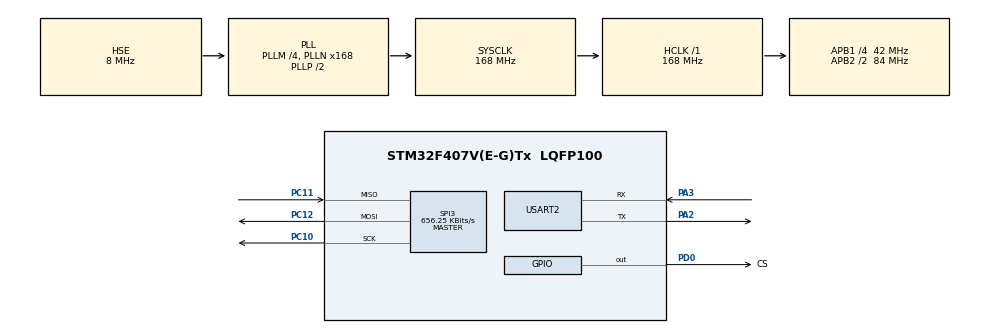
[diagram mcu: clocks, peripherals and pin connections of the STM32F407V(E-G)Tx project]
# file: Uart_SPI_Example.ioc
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Mcu.Family=STM32F4
Mcu.Name=STM32F407V(E-G)Tx
Mcu.Package=LQFP100
NVIC.PriorityGroup=NVIC_PRIORITYGROUP_4
NVIC.USART2_IRQn=true\:0\:0\:false\:false\:true\:true\:true
PA13.Mode=Serial_Wire
PA13.Signal=SYS_JTMS-SWDIO
PA14.Mode=Serial_Wire
PA14.Signal=SYS_JTCK-SWCLK
PA2.Mode=Asynchronous
PA2.Signal=USART2_TX
PA3.Mode=Asynchronous
PA3.Signal=USART2_RX
PC10.Mode=Full_Duplex_Master
PC10.Signal=SPI3_SCK
PC11.Mode=Full_Duplex_Master
PC11.Signal=SPI3_MISO
PC12.Mode=Full_Duplex_Master
PC12.Signal=SPI3_MOSI
PD0.GPIO_Label=CS
PD0.Signal=GPIO_Output
PH0-OSC_IN.Mode=HSE-External-Oscillator
PH0-OSC_IN.Signal=RCC_OSC_IN
PH1-OSC_OUT.Mode=HSE-External-Oscillator
PH1-OSC_OUT.Signal=RCC_OSC_OUT
ProjectManager.HeapSize=0x200
ProjectManager.StackSize=0x400
ProjectManager.TargetToolchain=EWARM V8
RCC.48MHZClocksFreq_Value=84000000
RCC.AHBFreq_Value=168000000
RCC.APB1CLKDivider=RCC_HCLK_DIV4
RCC.APB1Freq_Value=42000000
RCC.APB1TimFreq_Value=84000000
RCC.APB2CLKDivider=RCC_HCLK_DIV2
RCC.APB2Freq_Value=84000000
RCC.APB2TimFreq_Value=168000000
RCC.CortexFreq_Value=168000000
RCC.HCLKFreq_Value=168000000
RCC.HSE_VALUE=8000000
RCC.HSI_VALUE=16000000
RCC.LSE_VALUE=32768
RCC.PLLM=4
RCC.PLLN=168
RCC.PLLSourceVirtual=RCC_PLLSOURCE_HSE
RCC.SYSCLKFreq_VALUE=168000000
RCC.SYSCLKSource=RCC_SYSCLKSOURCE_PLLCLK
RCC.VCOOutputFreq_Value=336000000
SPI3.BaudRatePrescaler=SPI_BAUDRATEPRESCALER_64
SPI3.CalculateBaudRate=656.25 KBits/s
SPI3.Direction=SPI_DIRECTION_2LINES
SPI3.Mode=SPI_MODE_MASTER
SPI3.VirtualType=VM_MASTER
USART2.VirtualMode=VM_ASYNC
board=custom

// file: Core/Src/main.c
/* USER CODE BEGIN Header */
/**
  ******************************************************************************
  * @file           : main.c
  * @brief          : Main program body
  ******************************************************************************
  * @attention
  *
  * <h2><center>&copy; Copyright (c) 2021 STMicroelectronics.
  * All rights reserved.</center></h2>
  *
  * This software component is licensed by ST under BSD 3-Clause license,
  * the "License"; You may not use this file except in compliance with the
  * License. You may obtain a copy of the License at:
  *                        opensource.org/licenses/BSD-3-Clause
  *
  ******************************************************************************
  */
/* USER CODE END Header */
#include "main.h"
#include "spi.h"
#include "usart.h"
#include "gpio.h"

/* USER CODE BEGIN Includes */
#include <string.h>
/* USER CODE END Includes */

/* USER CODE BEGIN PV */
uint8_t uartRxBuffer[35];
uint8_t spiRxBuffer[34];
uint8_t spiTxBuffer[] = "spi message from stm32 to esp32...";
/* USER CODE END PV */

void SystemClock_Config(void);

/* USER CODE BEGIN 0 */

const char uartTxBuffer[] = "Uart message from stm32 to esp32...";

/* USER CODE END 0 */

int main(void)
{

  /* MCU Configuration--------------------------------------------------------*/

  /* Reset of all peripherals, Initializes the Flash interface and the Systick. */
  HAL_Init();

  /* Configure the system clock */
  SystemClock_Config();

  /* Initialize all configured peripherals */
  MX_GPIO_Init();
  MX_USART2_UART_Init();
  MX_SPI3_Init();
  /* USER CODE BEGIN 2 */

    __HAL_SPI_ENABLE(&hspi3);

  HAL_UART_Receive_IT(&huart2, uartRxBuffer, 100);

  HAL_Delay(5000);
  switch(HAL_SPI_TransmitReceive(&hspi3, (uint8_t*)spiTxBuffer, (uint8_t *)spiRxBuffer, 34, 5000))
  {
      case HAL_OK:
      break;

      case HAL_TIMEOUT:
      case HAL_ERROR:
      break;

      default:
      break;
  }

  /* USER CODE END 2 */

  /* Infinite loop */
  while (1)
  {

    /* USER CODE BEGIN 3 */

      while(HAL_SPI_GetState(&hspi3)!= HAL_SPI_STATE_READY);
      memset(spiRxBuffer, 0, 34);
      switch(HAL_SPI_TransmitReceive(&hspi3, (uint8_t*)spiTxBuffer, (uint8_t *)spiRxBuffer, 34, 5000))
      {
          case HAL_OK:
          break;

          case HAL_TIMEOUT:
          case HAL_ERROR:
          break;

          default:
          break;
      }

      //HAL_UART_Transmit(&huart2, (uint8_t*) uartTxBuffer, strlen(uartTxBuffer), 10);
      HAL_Delay(500);
  }
  /* USER CODE END 3 */
}

void SystemClock_Config(void)
{
  RCC_OscInitTypeDef RCC_OscInitStruct = {0};
  RCC_ClkInitTypeDef RCC_ClkInitStruct = {0};

  /** Configure the main internal regulator output voltage
  */
  __HAL_RCC_PWR_CLK_ENABLE();
  __HAL_PWR_VOLTAGESCALING_CONFIG(PWR_REGULATOR_VOLTAGE_SCALE1);
  /** Initializes the RCC Oscillators according to the specified parameters
  * in the RCC_OscInitTypeDef structure.
  */
  RCC_OscInitStruct.OscillatorType = RCC_OSCILLATORTYPE_HSE;
  RCC_OscInitStruct.HSEState = RCC_HSE_ON;
  RCC_OscInitStruct.PLL.PLLState = RCC_PLL_ON;
  RCC_OscInitStruct.PLL.PLLSource = RCC_PLLSOURCE_HSE;
  RCC_OscInitStruct.PLL.PLLM = 4;
  RCC_OscInitStruct.PLL.PLLN = 168;
  RCC_OscInitStruct.PLL.PLLP = RCC_PLLP_DIV2;
  RCC_OscInitStruct.PLL.PLLQ = 4;
  if (HAL_RCC_OscConfig(&RCC_OscInitStruct) != HAL_OK)
  {
    Error_Handler();
  }
  /** Initializes the CPU, AHB and APB buses clocks
  */
  RCC_ClkInitStruct.ClockType = RCC_CLOCKTYPE_HCLK|RCC_CLOCKTYPE_SYSCLK
                              |RCC_CLOCKTYPE_PCLK1|RCC_CLOCKTYPE_PCLK2;
  RCC_ClkInitStruct.SYSCLKSource = RCC_SYSCLKSOURCE_PLLCLK;
  RCC_ClkInitStruct.AHBCLKDivider = RCC_SYSCLK_DIV1;
  RCC_ClkInitStruct.APB1CLKDivider = RCC_HCLK_DIV4;
  RCC_ClkInitStruct.APB2CLKDivider = RCC_HCLK_DIV2;

  if (HAL_RCC_ClockConfig(&RCC_ClkInitStruct, FLASH_LATENCY_5) != HAL_OK)
  {
    Error_Handler();
  }
}

void Error_Handler(void)
{
  __disable_irq();
  while (1)
  {
  }
}

/************************ (C) COPYRIGHT STMicroelectronics *****END OF FILE****/
